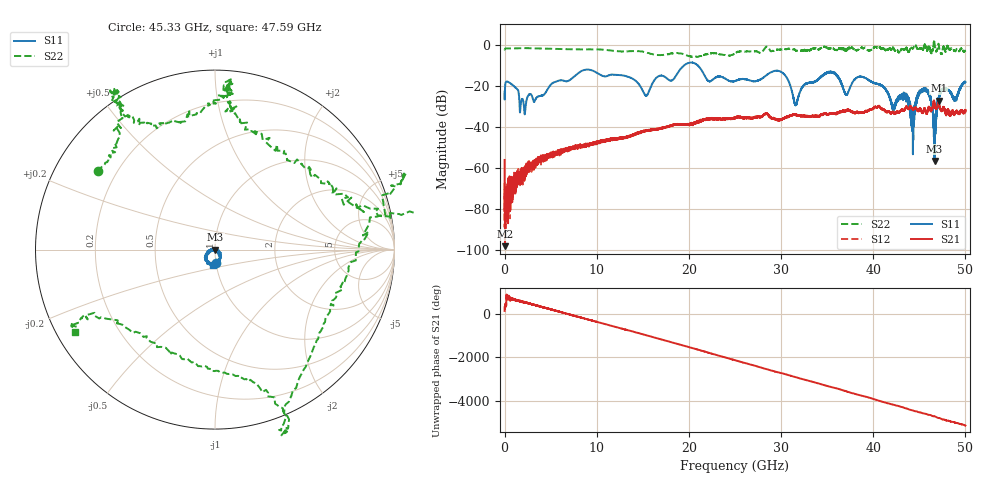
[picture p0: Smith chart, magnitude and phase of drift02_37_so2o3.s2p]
!Created with skrf (http://scikit-rf.org).
# Hz S RI R 50.0
!freq ReS11 ImS11 ReS21 ImS21 ReS12 ImS12 ReS22 ImS22
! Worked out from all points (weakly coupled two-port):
!   10001 points, 300 kHz to 50 GHz, reference 50 ohm
!   highest |S21| = -26.89 dB at 47.1 GHz (marker M1); lowest = -97.9 dB at 40.3 MHz (marker M2)
!   lowest |S11| = -56.4 dB at 46.65 GHz (marker M3), VSWR 1.00, Z = 50.2 + j0.0087 ohm
!   |S11| at or under -10 dB: start of sweep to 19.42 GHz; 21.01 GHz to end of sweep
!   |S22| runs from -5.7 to 2.4 dB; largest |S21 - S12| = 0.0047
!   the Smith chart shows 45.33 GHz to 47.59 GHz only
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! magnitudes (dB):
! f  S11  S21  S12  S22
! 300 kHz  -22.6  -55.8  -66.8  -2.0
! 40.3 MHz  -21.2  -97.9  -75.3  -1.7
! 255.3 MHz  -17.6  -72.1  -74.5  -1.4
! 2.19 GHz  -33.6  -61.5  -63.5  -1.3
! 8.335 GHz  -12.5  -48.7  -49.1  -1.9
! 15.34 GHz  -24.5  -41.4  -41.6  -3.3
! 16.67 GHz  -15.1  -40.8  -40.9  -4.7
! 20.3 GHz  -8.4  -38.2  -38.6  -5.5
! 25 GHz  -17.3  -35.4  -35.3  -3.9
! 29.84 GHz  -12.6  -36.4  -36.4  -2.0
! 31.59 GHz  -29.1  -33.7  -34.0  -2.4
! 33.34 GHz  -18.4  -34.4  -34.6  -1.6
! 35.6 GHz  -13.1  -33.4  -33.3  -1.6
! 37.1 GHz  -24.2  -31.9  -31.7  -2.2
! 38.75 GHz  -15.3  -32.6  -32.7  -1.0
! 41.67 GHz  -23.9  -32.2  -32.0  -1.9
! 43.5 GHz  -26.2  -30.5  -30.7  -1.5
! 44.27 GHz  -38.8  -31.1  -31.1  -1.4
! 45.72 GHz  -21.4  -32.8  -32.6  -1.0
! 46.65 GHz  -56.4  -27.8  -27.9  0.8
! 47.1 GHz  -25.7  -26.9  -27.5  0.6
! 50 GHz  -17.9  -31.5  -31.8  -2.6
